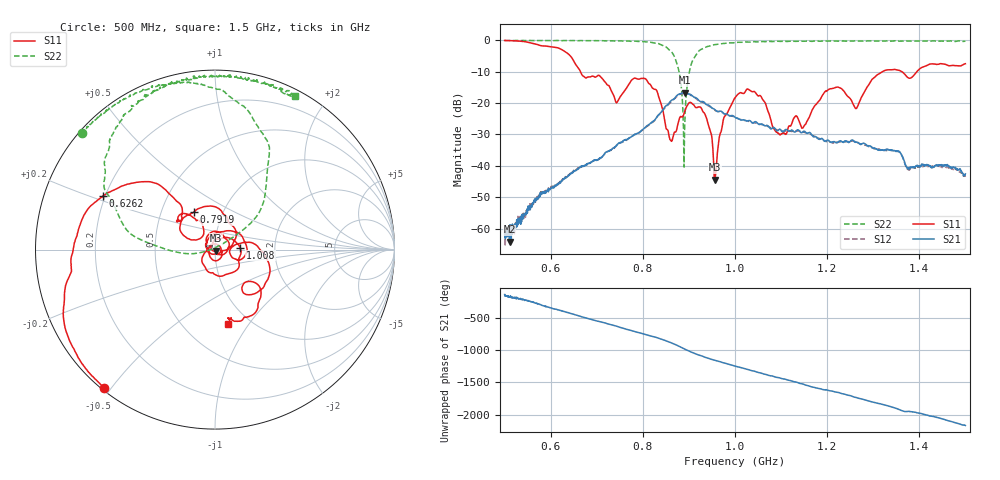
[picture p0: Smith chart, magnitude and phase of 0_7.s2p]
!Agilent Technologies,E8364B,US42250235,A.06.04.32
!Agilent E8364B: A.06.04.32
!Date: Friday, January 15, 2021 12:13:04
!Correction: S11(Full 2 Port(1,2)) S21(Full 2 Port(1,2)) S12(Full 2 Port(1,2)) S22(Full 2 Port(1,2))
!S2P File: Measurements: S11, S21, S12, S22:
# Hz S  dB  R 50
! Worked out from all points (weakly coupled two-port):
!   1601 points, 500 MHz to 1.5 GHz, reference 50 ohm
!   highest |S21| = -16.72 dB at 890.6 MHz (marker M1); lowest = -64.1 dB at 510.6 MHz (marker M2)
!   lowest |S11| = -44.4 dB at 955.6 MHz (marker M3), VSWR 1.01, Z = 50.3 - j0.528 ohm
!   |S11| at or under -10 dB: 664.5 MHz to 1.32 GHz (655.7 MHz wide, 66.1 % of centre); 1.362 GHz to 1.395 GHz (33.01 MHz wide, 2.39 % of centre)
!   |S22| runs from -40.4 to -0.1 dB; largest |S21 - S12| = 0.0094
!   S11 on the Smith chart (normalised r, x): 500 MHz: 0.01, -0.48; 626.2 MHz: 0.19, +0.22; 791.9 MHz: 0.73, +0.32; 1.008 GHz: 1.32, +0.03; 1.5 GHz: 0.80, -0.80
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5e8  -0.11 -128.8  -61.42 -136.2  -60.68 -143.8  -0.12 138.7
5.10625e8  -0.16 -133.7  -64.08 -176.0  -60.61 -175.8  -0.11 137.9
6.2625e8  -3.21 154.4  -44.36 -32.6  -44.17 -32.0  -0.16 126.8
6.66875e8  -10.77 129.1  -40.14 -120.9  -40.19 -119.9  -0.15 122.5
7.4375e8  -19.84 140.5  -33.36 91.0  -33.45 91.8  -0.27 111.5
7.91875e8  -12.41 119.9  -29.35 -8.2  -29.40 -7.5  -0.43 102.5
8.3375e8  -17.67 28.6  -23.85 -93.0  -23.94 -91.3  -1.11 86.4
8.60625e8  -31.94 -71.6  -19.34 -163.6  -19.69 -161.2  -3.53 63.8
8.775e8  -26.02 162.7  -17.23 143.8  -17.43 147.0  -9.36 41.5
8.90625e8  -22.82 133.7  -16.72 98.4  -16.91 101.2  -28.54 -173.5
9.08125e8  -20.38 72.3  -17.82 41.4  -17.99 45.2  -6.46 169.6
9.375e8  -24.55 -22.4  -20.48 -34.9  -20.40 -31.5  -2.16 142.3
9.55625e8  -44.38 -60.3  -22.02 -76.1  -22.23 -72.8  -1.45 133.8
1e9  -18.33 22.2  -24.48 -167.3  -24.50 -163.7  -0.80 120.6
1.0075e9  -17.11 4.6  -24.98 178.4  -25.06 -178.2  -0.66 120.1
1.05625e9  -17.87 -108.3  -26.66 84.8  -26.80 87.2  -0.48 111.3
1.096875e9  -30.04 88.7  -28.30 9.3  -28.71 10.7  -0.38 107.1
1.166875e9  -22.36 113.5  -30.19 -131.3  -30.25 -126.4  -0.37 98.3
1.220625e9  -14.97 2.0  -32.69 148.6  -32.47 144.6  -0.33 93.2
1.26375e9  -21.69 -2.0  -32.42 63.4  -32.47 58.3  -0.27 88.5
1.33375e9  -9.42 -29.5  -34.88 -68.3  -35.08 -71.7  -0.27 81.5
1.5e9  -7.50 -80.2  -42.56 -8.4  -43.49 -10.2  -0.30 62.4
